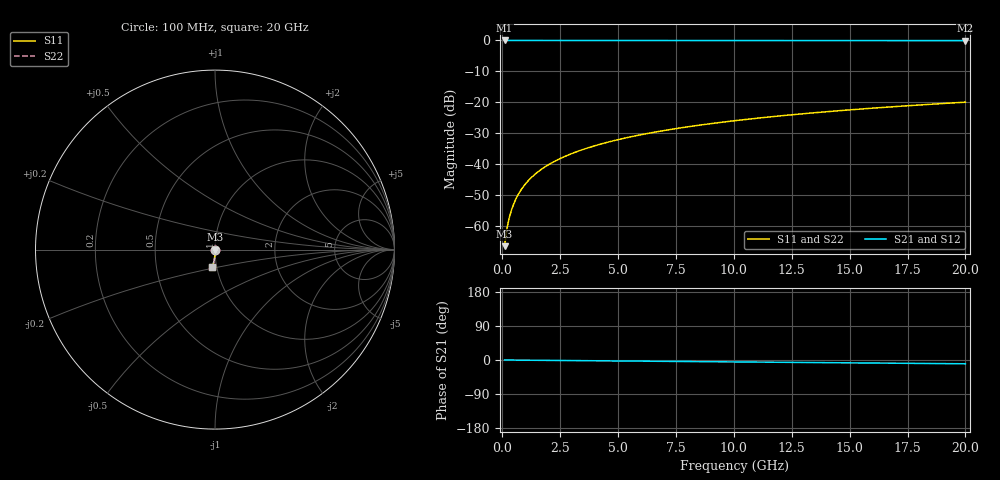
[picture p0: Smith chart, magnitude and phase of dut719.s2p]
! Touchstone file exported from HFSS 2026.1.0
!  File:  C:/ffzhzh/LocalFiles/Ansys_Project_Files/temp_train_TSV_719_1783182250_43440.aedt
!  Generated:  12:25:36 AM Jul  5, 2026
!  Design:  TSV
!  Project:  temp_train_TSV_719_1783182250_43440
! Variables:
!  h_bsmrdl = 2um
!  h_ox = 20um
!  h_rdl = 5um
!  h_sub = 89.41um
!  h_tmrdl = 5um
!  h_tsv = 89.41um
!  h_via = 3um
!  l_bsmrdl = 300um
!  l_sub = 418.9um
!  l_tmrdl = 200um
!  m_sub = 200um
!  pitch = 23.63um
!  r_tsv = 9.45um
!  s_tmrdl = 10um
!  w_bsmrdl = 18um
!  w_sub = 500um
!  w_tmrdl = 12um
!  x_tsv_center1 = 206um
!  x_tsv_center2 = 524um
!  x_tsv_center3 = 736um
!  x_tsv_center4 = 1054um
!  x_tsv_center5 = 1266um
!  x_tsv_center6 = 1584um
# GHz S MA R 50.000000
! Terminal data exported
! Port[1] = TSV1_1_T1
! Port[2] = TSV1_1_T2
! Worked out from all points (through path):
!   200 points, 100 MHz to 20 GHz, reference 50 ohm
!   highest |S21| = 0.00 dB at 100 MHz (marker M1); lowest = -0.1 dB at 20 GHz (marker M2)
!   group delay of S21, straight-line fit = 1.39 ps
!   lowest |S11| = -66.7 dB at 100 MHz (marker M3), VSWR 1.00, Z = 50 - j0.043 ohm
!   |S11| at or under -10 dB: start of sweep to end of sweep
!   |S22| runs from -66.7 to -20.0 dB; largest |S21 - S12| = 3.4e-15
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0.1  0.0004636 -68.2  0.9998 -0.1  0.9998 -0.1  0.0004636 -68.2
! Gamma 0 0 0 0
! Port Impedance 50 0 50 0
0.2  0.0008899 -77.2  0.9998 -0.1  0.9998 -0.1  0.0008899 -77.2
0.3  0.001338 -80.1  0.9998 -0.2  0.9998 -0.2  0.001338 -80.1
0.4  0.0018 -81.4  0.9997 -0.2  0.9997 -0.2  0.0018 -81.4
0.5  0.002275 -82.3  0.9997 -0.3  0.9997 -0.3  0.002275 -82.3
0.7  0.003248 -83.5  0.9996 -0.4  0.9996 -0.4  0.003248 -83.5
0.8  0.003741 -84.0  0.9996 -0.4  0.9996 -0.4  0.003741 -84.0
1  0.004733 -84.8  0.9995 -0.5  0.9995 -0.5  0.004733 -84.8
1.2  0.005728 -85.5  0.9995 -0.6  0.9995 -0.6  0.005728 -85.5
1.4  0.006723 -86.1  0.9994 -0.7  0.9994 -0.7  0.006723 -86.1
1.7  0.008216 -86.8  0.9994 -0.9  0.9994 -0.9  0.008216 -86.8
2  0.009708 -87.4  0.9993 -1.0  0.9993 -1.0  0.009708 -87.4
2.7  0.01319 -88.3  0.9992 -1.4  0.9992 -1.4  0.01319 -88.3
3.5  0.01718 -89.1  0.9991 -1.8  0.9991 -1.8  0.01718 -89.1
4.2  0.02068 -89.7  0.9989 -2.1  0.9989 -2.1  0.02068 -89.7
5  0.0247 -90.3  0.9987 -2.5  0.9987 -2.5  0.0247 -90.3
6.8  0.03375 -91.5  0.9983 -3.4  0.9983 -3.4  0.03375 -91.5
8.3  0.04131 -92.4  0.9979 -4.2  0.9979 -4.2  0.04131 -92.4
10.1  0.05037 -93.5  0.9973 -5.1  0.9973 -5.1  0.05037 -93.5
13.4  0.06696 -95.3  0.9961 -6.7  0.9961 -6.7  0.06696 -95.3
16.7  0.08347 -97.1  0.9947 -8.4  0.9947 -8.4  0.08347 -97.1
20  0.0999 -98.8  0.993 -10.0  0.993 -10.0  0.0999 -98.8
